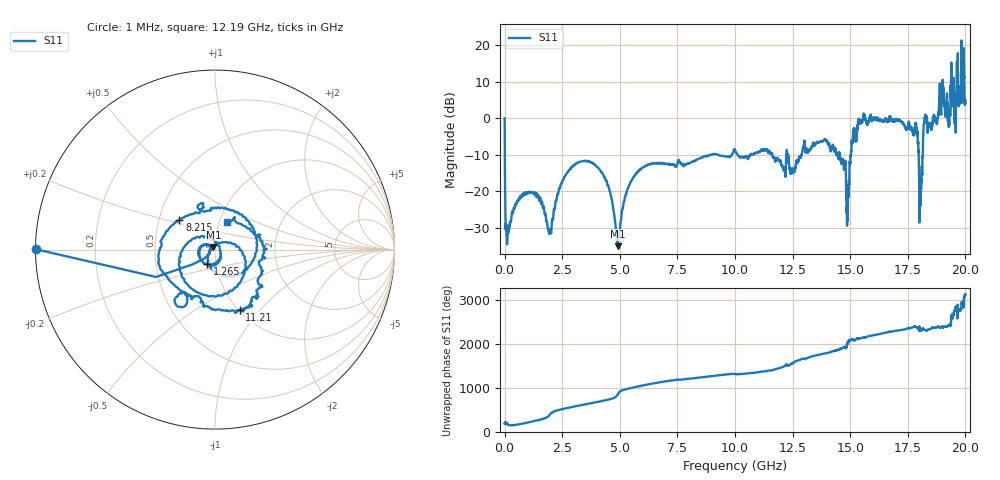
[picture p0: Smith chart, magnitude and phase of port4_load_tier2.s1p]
! Created with skrf 1.8.0 (http://scikit-rf.org).
# GHz S RI R 50.0
!freq ReS11 ImS11
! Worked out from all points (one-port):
!   10001 points, 1 MHz to 20 GHz, reference 50 ohm
!   lowest |S11| = -35.0 dB at 4.903 GHz (marker M1), VSWR 1.04, Z = 49.1 + j1.51 ohm
!   |S11| at or under -10 dB: 10.03 MHz to 8.935 GHz (8.925 GHz wide, 200 % of centre); 9.263 GHz to 9.874 GHz (610.9 MHz wide, 6.38 % of centre); 11.62 GHz to 12.24 GHz (619.1 MHz wide, 5.19 % of centre) (the widest 3 of 18)
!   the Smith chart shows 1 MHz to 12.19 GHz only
!   S11 on the Smith chart (normalised r, x): 1 MHz: 0.00, +0.00; 1.265 GHz: 0.90, -0.15; 8.215 GHz: 0.64, +0.23; 11.21 GHz: 1.01, -0.78; 12.19 GHz: 1.04, +0.32
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0.001  -0.9983 0.00204
0.1369932  -0.0242 0.00965
1.264937  -0.0449 -0.0824
2.500875  -0.1213 0.0619
4.016799  0.158 -0.1484
4.902755  -0.00882 0.0153
5.00075  -0.03 -0.00617
7.500625  -0.0844 0.223
8.214589  -0.1978 0.1657
10.0005  -0.2234 -0.2913
11.20844  0.1375 -0.3362
12.18839  0.0454 0.1505
12.50038  -0.1104 0.1736
15.00025  0.0674 -0.2447
15.62022  1.057 -0.1803
16.45018  -0.0525 0.9076
17.50013  -0.6609 -0.2755
18.0561  -0.0814 0.0457
18.32208  -0.8603 0.5469
18.97405  -1.16 -1.191
19.27804  -0.043 -0.7602
19.38603  0.424 2.711
19.48003  -2.145 2.024
19.59202  1.146 -0.2982
19.69402  -0.7004 -2.191
19.83001  7.284 3.783
19.93  9.089 -0.9659
20  -0.5422 -1.526
